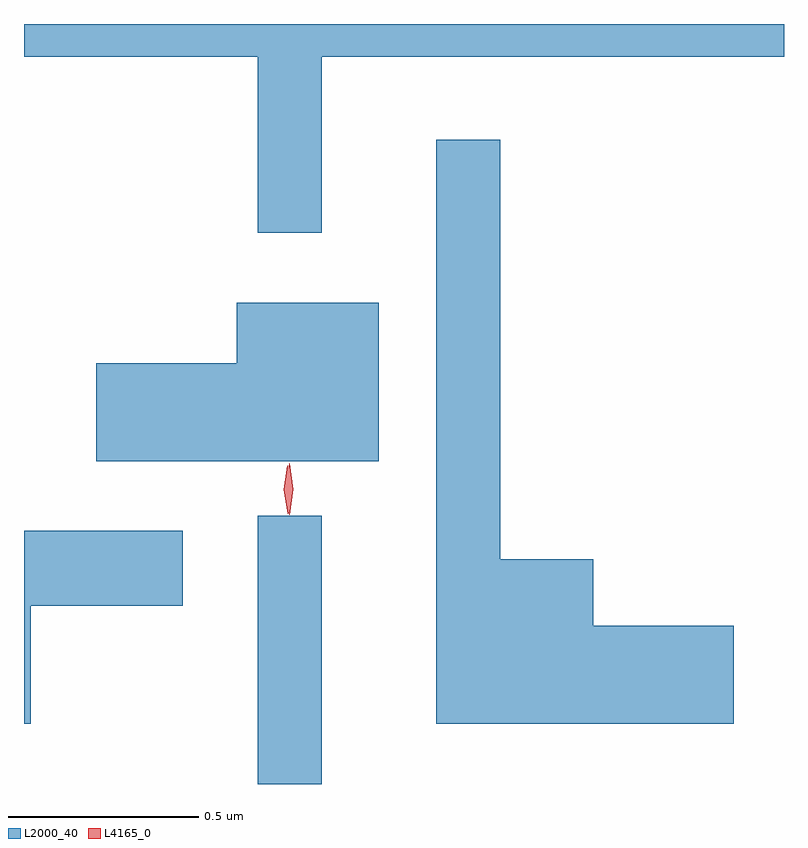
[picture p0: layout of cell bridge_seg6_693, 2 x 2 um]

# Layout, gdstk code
import gdstk
lib = gdstk.Library(unit=1e-6, precision=1e-09)
def R(c, l, rs):  # rectangles x0, y0, x1, y1
    for r in rs: c.add(gdstk.rectangle(r[:2], r[2:], *l))
def P(c, l, *ps):  # polygons
    for p in ps: c.add(gdstk.Polygon(p, *l))
L2000_40 = (2000, 40)
L4165_0 = (4165, 0)

bridge_seg6_693 = lib.new_cell('bridge_seg6_693')
R(bridge_seg6_693, L2000_40, [(197.961,1639.142,198.129,1639.848)])
P(bridge_seg6_693, L2000_40, [(198.129,1641.056),(199.346,1641.056),(199.346,1641.142),(197.346,1641.142),(197.346,1641.056),(197.961,1641.056),(197.961,1640.593),(198.129,1640.593)],
  [(199.214,1639.559),(198.844,1639.559),(198.844,1639.734),(198.599,1639.734),(198.599,1640.838),(198.431,1640.838),(198.431,1639.301),(199.214,1639.301)],
  [(198.279,1640.409),(197.906,1640.409),(197.906,1640.249),(197.536,1640.249),(197.536,1639.991),(198.279,1639.991)],
  [(197.364,1639.611),(197.764,1639.611),(197.764,1639.809),(197.346,1639.809),(197.346,1639.301),(197.364,1639.301)])
P(bridge_seg6_693, L4165_0, [(198.044,1639.85),(198.035,1639.918),(198.044,1639.985),(198.044,1639.986),(198.045,1639.985),(198.054,1639.918),(198.045,1639.85),(198.045,1639.85)],
  [(198.04,1639.853),(198.03,1639.916),(198.039,1639.979),(198.04,1639.98),(198.04,1639.979),(198.05,1639.916),(198.041,1639.853),(198.041,1639.853)])

lib.write_gds('bridge_seg6_693.gds')
